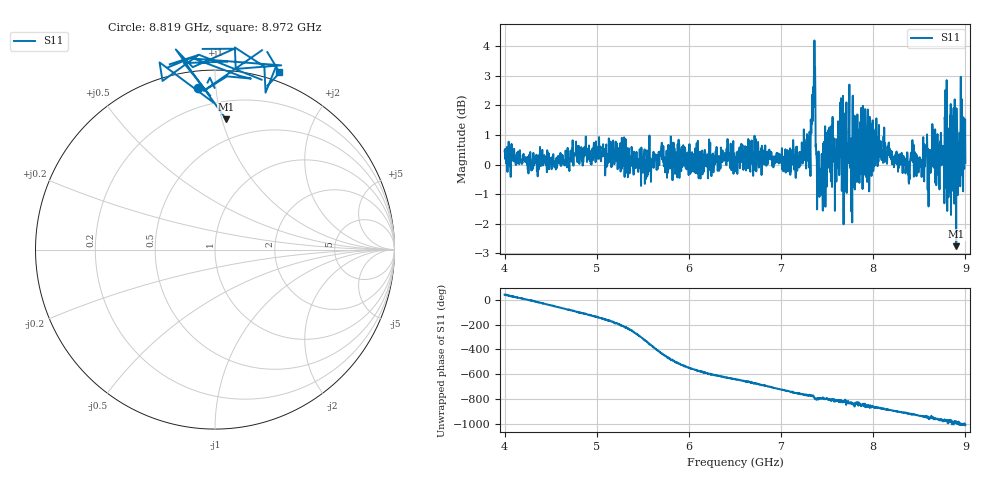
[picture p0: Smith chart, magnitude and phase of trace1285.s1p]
! Created with skrf 1.8.0 (http://scikit-rf.org).
# Hz S RI R 50.0
!freq ReS11 ImS11
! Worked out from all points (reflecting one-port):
!   1601 points, 4 GHz to 9 GHz, reference 50 ohm
!   lowest |S11| = -2.8 dB at 8.9 GHz (marker M1), VSWR 6.34, Z = 16.8 + j51.6 ohm
!   phase of S11 starts at 44 deg and turns -1054 deg over the sweep
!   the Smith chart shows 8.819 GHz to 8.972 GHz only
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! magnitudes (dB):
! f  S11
! 4 GHz  0.4
! 4.625 GHz  0.0
! 5.25 GHz  -0.1
! 5.875 GHz  -0.4
! 6.5 GHz  -0.2
! 7.125 GHz  0.2
! 7.294 GHz  0.2
! 7.328 GHz  1.1
! 7.347 GHz  2.6
! 7.362 GHz  4.2
! 7.4 GHz  -0.2
! 7.412 GHz  -1.1
! 7.509 GHz  0.0
! 7.609 GHz  0.9
! 7.631 GHz  -0.4
! 7.75 GHz  -0.1
! 7.788 GHz  0.4
! 7.853 GHz  1.2
! 8.05 GHz  0.9
! 8.375 GHz  0.0
! 8.562 GHz  -0.1
! 8.612 GHz  0.3
! 8.656 GHz  1.1
! 8.7 GHz  -0.2
! 8.759 GHz  0.6
! 8.9 GHz  -2.8
! 8.972 GHz  0.4
! 9 GHz  0.1
